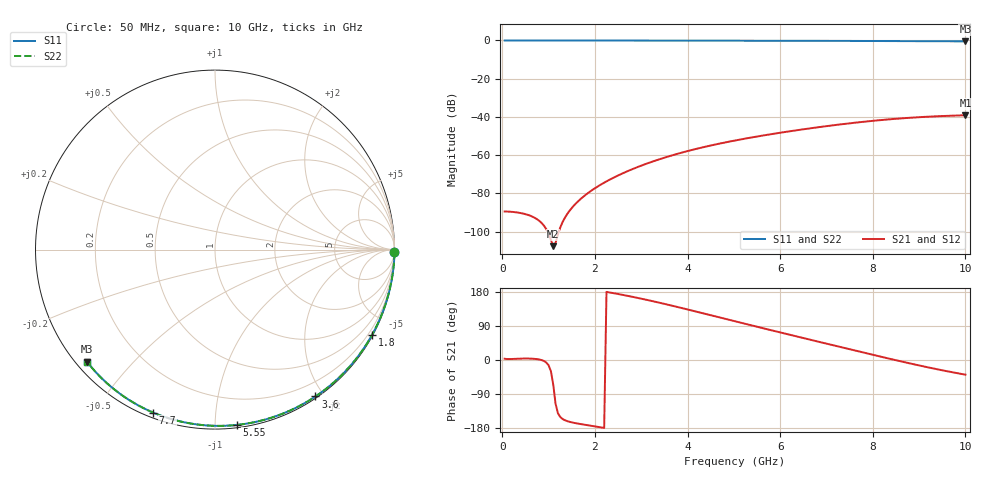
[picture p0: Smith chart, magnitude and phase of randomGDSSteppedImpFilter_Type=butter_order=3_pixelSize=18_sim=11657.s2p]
! freq	dB(S11)	phase(S11)	dB(S12)	phase(S12)
!  dB(S21)	phase(S21)	dB(S22)	phase(S22)
!S-par simulation data
#  GHz  S  DB  R 50
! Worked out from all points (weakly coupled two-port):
!   200 points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, 50 MHz to 10 GHz, reference 50 ohm
!   highest |S21| = -39.11 dB at 10 GHz (marker M1); lowest = -107.6 dB at 1.1 GHz (marker M2)
!   lowest |S11| = -0.5 dB at 10 GHz (marker M3), VSWR 37.50, Z = 1.52 - j18.8 ohm
!   |S11| at or under -10 dB: nowhere
!   |S22| runs from -0.5 to 0.0 dB; largest |S21 - S12| = 0
!   S11 on the Smith chart (normalised r, x): 50 MHz: open; 1.8 GHz: 0.03, -3.94; 3.6 GHz: 0.02, -1.90; 5.55 GHz: 0.02, -1.13; 7.7 GHz: 0.02, -0.69; 10 GHz: 0.03, -0.38
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0.05  -0.00 -0.8  -89.41 3.4  -89.41 3.4  -0.00 -0.8
0.55  -0.01 -8.8  -91.17 3.9  -91.17 3.9  -0.01 -8.8
1.1  -0.02 -17.5  -107.55 -64.8  -107.55 -64.8  -0.02 -17.5
1.75  -0.04 -27.7  -81.67 -170.2  -81.67 -170.2  -0.04 -27.7
1.8  -0.04 -28.5  -80.70 -171.2  -80.70 -171.2  -0.04 -28.5
1.85  -0.04 -29.3  -79.78 -172.2  -79.78 -172.2  -0.04 -29.3
2  -0.04 -31.6  -77.27 -175.2  -77.27 -175.2  -0.04 -31.6
2.15  -0.04 -33.9  -75.03 -178.2  -75.03 -178.2  -0.04 -33.9
2.35  -0.05 -36.9  -72.38 177.6  -72.38 177.6  -0.05 -36.9
2.55  -0.05 -40.0  -70.01 173.1  -70.01 173.1  -0.05 -40.0
2.95  -0.06 -46.0  -65.91 163.2  -65.91 163.2  -0.06 -46.0
3.4  -0.07 -52.7  -62.06 151.0  -62.06 151.0  -0.07 -52.7
3.6  -0.07 -55.6  -60.55 145.3  -60.55 145.3  -0.07 -55.6
4.3  -0.09 -65.7  -56.03 124.3  -56.03 124.3  -0.09 -65.7
5.05  -0.12 -76.2  -52.19 101.4  -52.19 101.4  -0.12 -76.2
5.55  -0.14 -83.0  -50.01 86.2  -50.01 86.2  -0.14 -83.0
6.1  -0.16 -90.3  -47.87 69.8  -47.87 69.8  -0.16 -90.3
6.7  -0.19 -98.1  -45.77 52.0  -45.77 52.0  -0.19 -98.1
7.7  -0.25 -110.8  -42.78 22.5  -42.78 22.5  -0.25 -110.8
8.35  -0.30 -118.8  -41.25 3.7  -41.25 3.7  -0.30 -118.8
9.15  -0.38 -128.5  -39.91 -18.3  -39.91 -18.3  -0.38 -128.5
10  -0.46 -138.8  -39.11 -38.7  -39.11 -38.7  -0.46 -138.7
